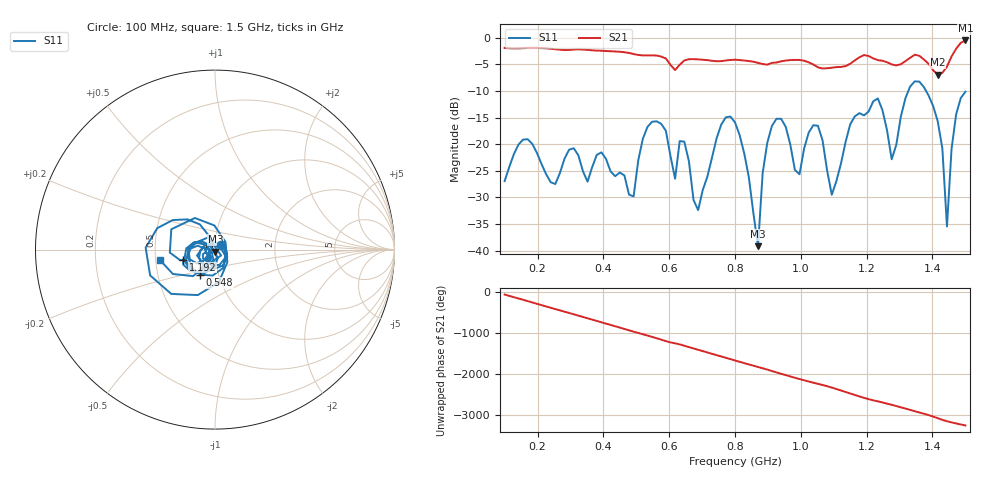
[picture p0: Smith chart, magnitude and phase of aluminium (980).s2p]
! NanoVNA-App
! Date: 2025-09-25 15:02:54
! Start: 100MHz Stop: 1,5GHz Points: 101
! S-Parameter data: F S11 S21 S12 S22
# Hz S RI R 50
!  Frequency  S11_Real  S11_Imag  S21_Real  S21_Imag  S12_Real  S12_Imag  S22_Real  S22_Imag
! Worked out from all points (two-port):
!   101 points, 100 MHz to 1.5 GHz, reference 50 ohm
!   highest |S21| = -0.52 dB at 1.5 GHz (marker M1); lowest = -6.9 dB at 1.416 GHz (marker M2)
!   |S21| within 3 dB of the highest: start of sweep to 574.4 MHz; 1.458 GHz to end of sweep (the widest 2 of 4)
!   lowest |S11| = -39.2 dB at 870 MHz (marker M3), VSWR 1.02, Z = 50.2 - j1.09 ohm
!   |S11| at or under -10 dB: start of sweep to 1.327 GHz; 1.38 GHz to end of sweep
!   S12 and S22 are empty: the file has one direction only
!   S11 on the Smith chart (normalised r, x): 100 MHz: 1.07, +0.06; 548 MHz: 0.82, -0.24; 1.192 GHz: 0.69, -0.08; 1.5 GHz: 0.53, -0.07
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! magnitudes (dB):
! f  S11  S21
! 100 MHz  -27.0  -1.9
! 156 MHz  -19.1  -2.0
! 338 MHz  -25.1  -2.2
! 492 MHz  -29.8  -3.1
! 548 MHz  -15.8  -3.3
! 576 MHz  -16.2  -3.5
! 646 MHz  -19.5  -4.3
! 688 MHz  -32.4  -4.1
! 800 MHz  -15.9  -4.1
! 870 MHz  -39.2  -4.7
! 912 MHz  -16.6  -4.7
! 996 MHz  -25.7  -4.2
! 1.038 GHz  -16.4  -5.0
! 1.094 GHz  -29.5  -5.6
! 1.192 GHz  -14.6  -3.3
! 1.234 GHz  -11.4  -4.2
! 1.276 GHz  -22.8  -5.0
! 1.346 GHz  -8.2  -3.2
! 1.416 GHz  -15.7  -6.9
! 1.444 GHz  -35.5  -5.4
! 1.472 GHz  -14.4  -2.1
! 1.5 GHz  -10.2  -0.5
